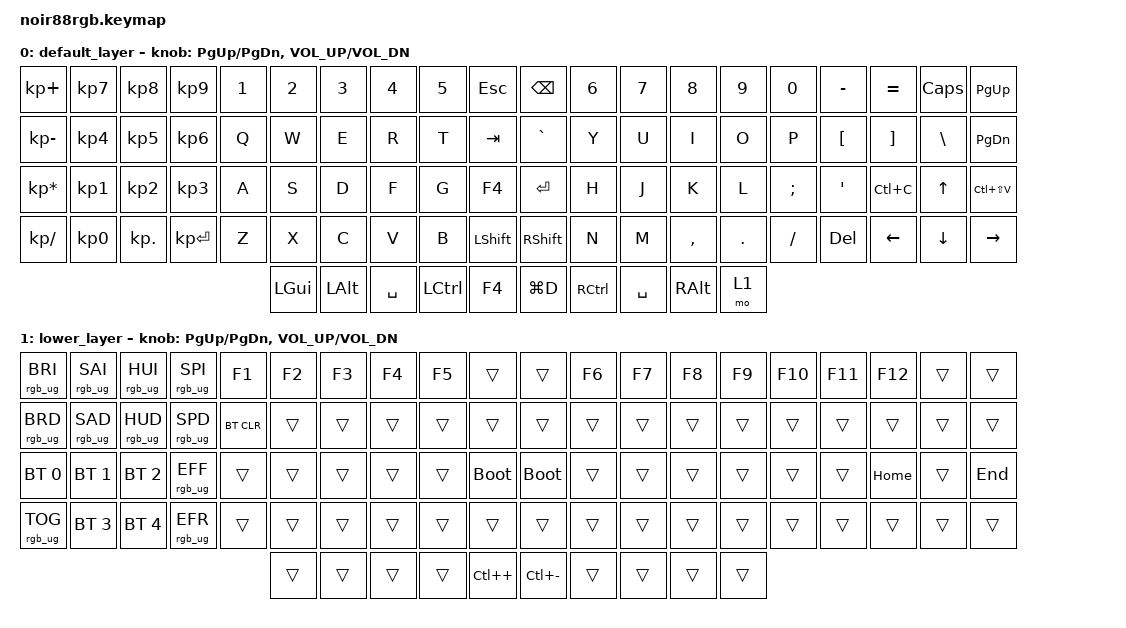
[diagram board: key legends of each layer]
/*
 * Copyright (c) 2020 The ZMK Contributors
 *
 * SPDX-License-Identifier: MIT
 */

#include <behaviors.dtsi>
#include <dt-bindings/zmk/bt.h>
#include <dt-bindings/zmk/keys.h>
#include <dt-bindings/zmk/rgb.h>

#define BASE 0
#define LOWER 1

/ {
    keymap {
        compatible = "zmk,keymap";

        default_layer {
            // ------------------------------------------------------------------------------------------------------------
            // |7    |8     |9      |+      |1      |2      |3      |4      |5      |ESC    |              |BACK   |6       |7     |8     |9     |0     |-     |+     |COPY  |PASTE |
            // |4    |5     |6      |-      |Q      |W      |E      |R      |T      |TAB    |              |`      |Y       |U     |I     |O     |P     |"["   |"]"   |\     |HOME  |
            // |1    |2     |3      |*      |A      |S      |D      |F      |G      |CAP    |              |ENTER  |H       |J     |K     |L     |/     |;     |'     |UP    |END   |
            // |ENTER|0     |.      |/      |Z      |X      |C      |V      |B      |SHIFT  |              |SHIFT  |B       |N     |M     |,     |.     |DEL   |LEFT  |DOWN  |RIGHT |
            //                                              |GUI    |CTRL   |ALT    |SPACE  |EC11  ||EC11  |SPACE  |ALT     |CTRL  |LOWER |

            bindings = <
&kp KP_PLUS      &kp KP_N7  &kp KP_N8   &kp KP_N9     &kp N1  &kp N2    &kp N3        &kp N4     &kp N5            &kp ESC         &kp BSPC         &kp N6             &kp N7     &kp N8         &kp N9   &kp N0    &kp MINUS  &kp EQUAL  &kp CAPS  &kp PG_UP
&kp KP_MINUS     &kp KP_N4  &kp KP_N5   &kp KP_N6     &kp Q   &kp W     &kp E         &kp R      &kp T             &kp TAB         &kp GRAVE        &kp Y              &kp U      &kp I          &kp O    &kp P     &kp LBKT   &kp RBKT   &kp BSLH  &kp PG_DN
&kp KP_ASTERISK  &kp KP_N1  &kp KP_N2   &kp KP_N3     &kp A   &kp S     &kp D         &kp F      &kp G             &kp F4          &kp ENTER        &kp H              &kp J      &kp K          &kp L    &kp SEMI  &kp SQT    &kp LC(C)  &kp UP    &kp LC(LS(V))
&kp KP_DIVIDE    &kp KP_N0  &kp KP_DOT  &kp KP_ENTER  &kp Z   &kp X     &kp C         &kp V      &kp B             &kp LEFT_SHIFT  &kp RIGHT_SHIFT  &kp N              &kp M      &kp COMMA      &kp DOT  &kp FSLH  &kp DEL    &kp LEFT   &kp DOWN  &kp RIGHT
                                                              &kp LGUI  &kp LEFT_ALT  &kp SPACE  &kp LEFT_CONTROL  &kp F4          &kp LG(D)        &kp RIGHT_CONTROL  &kp SPACE  &kp RIGHT_ALT  &mo 1
            >;

            sensor-bindings =
                <&inc_dec_kp PAGE_UP PAGE_DOWN>,
                <&inc_dec_kp C_VOL_UP C_VOL_DN>;
        };

        lower_layer {
            // ------------------------------------------------------------------------------------------------------------
            // |RGB BRI+|RGB SAT+|RGB HUE+|RGB SPD+|F1     |F2     |F3        |F4     |F5     |ESC    |              |BACK   |F6      |F7    |F8        |F9    |F10   |F11   |F12   |COPY  |PASTE |
            // |RGB BRI-|RGB SAT-|RGB HUE-|RGB SPD-|BT_CLR |W      |E         |R      |T      |TAB    |              |`      |Y       |U     |I         |O     |P     |"["   |"]"   |\     |HOME  |
            // |BT1     |BT2     |BT3     |RGB ANI+|A      |S      |D         |F      |G      |CAP    |              |ENTER  |H       |J     |K         |L     |/     |;     |'     |UP    |END   |
            // |RGB TOG |BT4     |BT5     |RGB ANI-|Z      |X      |BOOTLOADER|V      |B      |SHIFT  |EC11  ||EC11  |SHIFT  |B       |N     |BOOTLOADER|,     |.     |DEL   |LEFT  |DOWN  |RIGHT |
            //                                                     |GUI       |CTRL   |ALT    |SPACE  |              |SPACE  |ALT     |CTRL  |LOWER     |

            bindings = <
&rgb_ug RGB_BRI  &rgb_ug RGB_SAI  &rgb_ug RGB_HUI  &rgb_ug RGB_SPI  &kp F1      &kp F2  &kp F3  &kp F4  &kp F5  &trans        &trans         &kp F6  &kp F7  &kp F8  &kp F9  &kp F10  &kp F11  &kp F12   &trans  &trans
&rgb_ug RGB_BRD  &rgb_ug RGB_SAD  &rgb_ug RGB_HUD  &rgb_ug RGB_SPD  &bt BT_CLR  &trans  &trans  &trans  &trans  &trans        &trans         &trans  &trans  &trans  &trans  &trans   &trans   &trans    &trans  &trans
&bt BT_SEL 0     &bt BT_SEL 1     &bt BT_SEL 2     &rgb_ug RGB_EFF  &trans      &trans  &trans  &trans  &trans  &bootloader   &bootloader    &trans  &trans  &trans  &trans  &trans   &trans   &kp HOME  &trans  &kp END
&rgb_ug RGB_TOG  &bt BT_SEL 3     &bt BT_SEL 4     &rgb_ug RGB_EFR  &trans      &trans  &trans  &trans  &trans  &trans        &trans         &trans  &trans  &trans  &trans  &trans   &trans   &trans    &trans  &trans
                                                                                &trans  &trans  &trans  &trans  &kp LC(PLUS)  &kp LC(MINUS)  &trans  &trans  &trans  &trans
            >;

            sensor-bindings =
                <&inc_dec_kp PAGE_UP PAGE_DOWN>,
                <&inc_dec_kp C_VOLUME_UP C_VOL_DN>;
        };
    };
};
